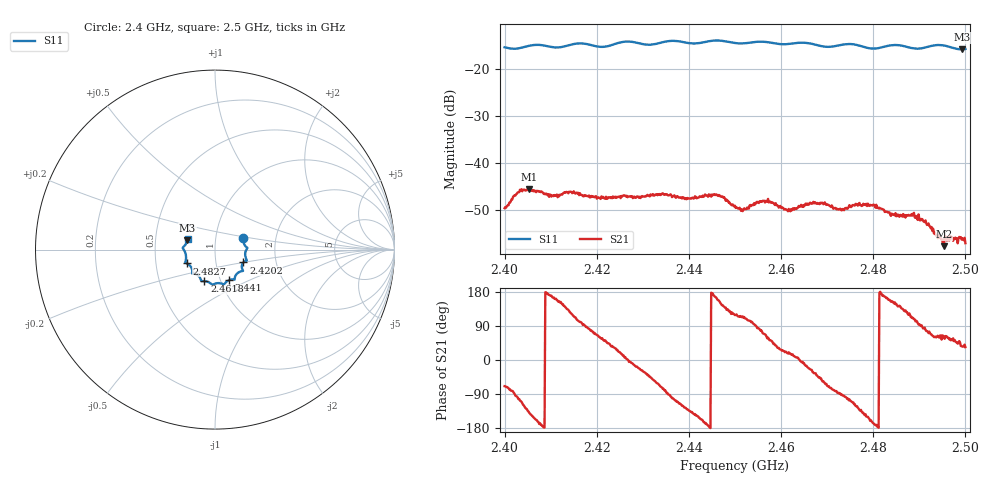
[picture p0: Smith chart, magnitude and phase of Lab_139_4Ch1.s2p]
# Hz S RI R 50
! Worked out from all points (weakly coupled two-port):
!   601 points, 2.4 GHz to 2.5 GHz, reference 50 ohm
!   highest |S21| = -45.57 dB at 2.4053 GHz (marker M1); lowest = -57.8 dB at 2.4953 GHz (marker M2)
!   lowest |S11| = -15.8 dB at 2.4993 GHz (marker M3), VSWR 1.39, Z = 36.5 + j3.84 ohm
!   |S11| at or under -10 dB: start of sweep to end of sweep
!   S12 and S22 are empty: the file has one direction only
!   S11 on the Smith chart (normalised r, x): 2.4 GHz: 1.36, +0.18; 2.4202 GHz: 1.36, -0.20; 2.441 GHz: 1.10, -0.39; 2.4618 GHz: 0.84, -0.30; 2.4827 GHz: 0.72, -0.12; 2.5 GHz: 0.73, +0.09
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2.4e9  0.1584 0.0626  0.00117 -0.00307  0 0  0 0
2.403167e9  0.1645 0.0262  -0.00108 -0.00475  0 0  0 0
2.405333e9  0.1764 0.0125  -0.00396 -0.00346  0 0  0 0
2.410167e9  0.1715 -0.00769  -0.00431 0.000774  0 0  0 0
2.416667e9  0.1774 -0.0606  -0.000691 0.00451  0 0  0 0
2.420167e9  0.1583 -0.0714  0.00179 0.00382  0 0  0 0
2.433333e9  0.1117 -0.1508  0.00211 -0.00412  0 0  0 0
2.441e9  0.0786 -0.1699  -0.00328 -0.00258  0 0  0 0
2.446e9  0.0502 -0.195  -0.00442 0.00131  0 0  0 0
2.45e9  0.0282 -0.1873  -0.00166 0.00307  0 0  0 0
2.451833e9  0.00952 -0.1875  -0.00117 0.00294  0 0  0 0
2.456667e9  -0.0181 -0.1935  0.00158 0.0036  0 0  0 0
2.461833e9  -0.0592 -0.1756  0.00297 0.000915  0 0  0 0
2.466667e9  -0.0785 -0.1683  0.00328 -0.00162  0 0  0 0
2.473167e9  -0.1212 -0.1347  -4.24e-05 -0.00311  0 0  0 0
2.479833e9  -0.1341 -0.0965  -0.00338 -0.000919  0 0  0 0
2.482667e9  -0.1561 -0.0773  -0.00292 0.000723  0 0  0 0
2.483333e9  -0.1603 -0.0754  -0.00276 0.00108  0 0  0 0
2.488833e9  -0.1611 -0.039  -0.00091 0.00279  0 0  0 0
2.495333e9  -0.1777 0.0136  0.000643 0.00112  0 0  0 0
2.499333e9  -0.1536 0.0512  0.00128 0.00091  0 0  0 0
2.5e9  -0.152 0.0605  0.00116 0.000779  0 0  0 0
